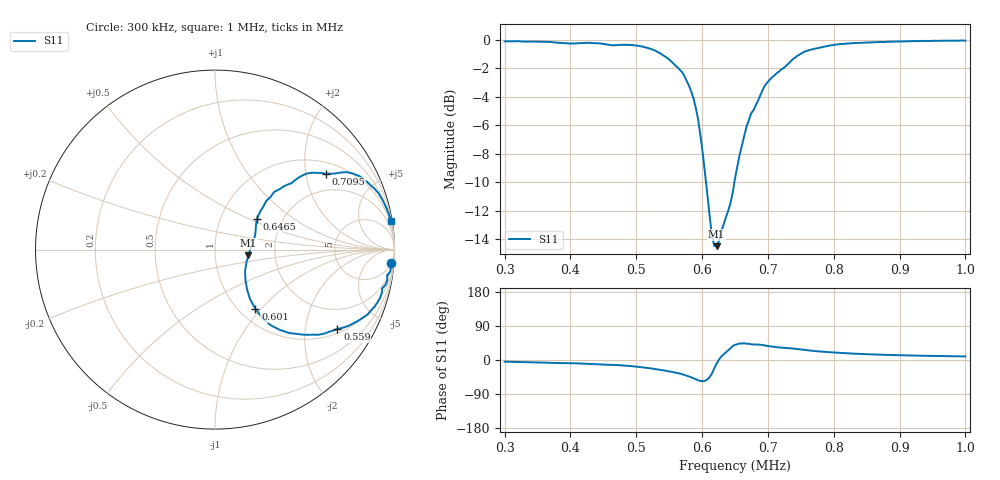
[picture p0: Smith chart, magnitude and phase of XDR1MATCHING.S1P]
!Agilent Technologies,E5071C,MY46100305,A.07.02
!Date: Fri Jan 01 00:20:27 1988
!Data & Calibration Information:
!Freq	S11:SOLT1(ON)
# Hz S MA R 50
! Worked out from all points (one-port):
!   201 points, 300 kHz to 1 MHz, reference 50 ohm
!   lowest |S11| = -14.5 dB at 622 kHz (marker M1), VSWR 1.47, Z = 72.7 - j4.83 ohm
!   |S11| at or under -10 dB: 606 kHz to 649 kHz (43.04 kHz wide, 6.86 % of centre)
!   S11 on the Smith chart (normalised r, x): 300 kHz: 5, -25; 559 kHz: 1.15, -2.98; 601 kHz: 1.18, -0.93; 646.5 kHz: 1.48, +0.56; 709.5 kHz: 1.35, +2.60; 1 MHz: 1, +12
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300000  0.9862 -4.4
387500  0.9734 -8.3
415500  0.9724 -9.2
475000  0.9582 -13.7
496000  0.9568 -16.8
524000  0.9256 -22.7
545000  0.8696 -28.4
559000  0.8128 -32.9
562500  0.8014 -34.1
569500  0.7699 -37.4
587000  0.6227 -48.3
594000  0.5251 -53.6
601000  0.4001 -55.7
608000  0.2874 -51.4
615000  0.2056 -35.4
618500  0.1892 -22.2
622000  0.1889 -9.8
646500  0.2907 36.5
650000  0.3265 39.9
664000  0.4602 44.3
674500  0.5511 41.5
692000  0.6661 39.6
709500  0.748 34.4
737500  0.8528 30.4
765500  0.9232 24.5
825000  0.9712 17.2
912500  0.9874 12.1
1000000  0.9916 9.4
